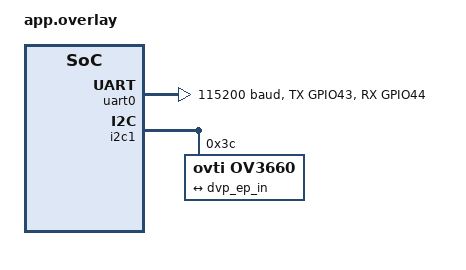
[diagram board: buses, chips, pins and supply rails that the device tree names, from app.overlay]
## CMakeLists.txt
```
cmake_minimum_required(VERSION 3.20.0)

find_package(Zephyr REQUIRED HINTS $ENV{ZEPHYR_BASE})
project(camera_snapshot)

target_sources(app PRIVATE src/main.c src/ov3660.c)
```

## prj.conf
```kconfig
CONFIG_VIDEO=y
CONFIG_I2C=y
CONFIG_PRINTK=y
CONFIG_LOG=y
CONFIG_LOG_MODE_DEFERRED=y
CONFIG_LOG_PRINTK=n

# PSRAM heap for the two JPEG buffers.
CONFIG_ESP_SPIRAM_HEAP_SIZE=4194304

CONFIG_VIDEO_BUFFER_USE_SHARED_MULTI_HEAP=y
CONFIG_VIDEO_BUFFER_SMH_ATTRIBUTE=2
CONFIG_VIDEO_BUFFER_POOL_ALIGN=64
CONFIG_VIDEO_BUFFER_POOL_NUM_MAX=2

CONFIG_DMA_ESP32_MAX_DESCRIPTOR_NUM=272

CONFIG_NETWORKING=y
CONFIG_WIFI=y
CONFIG_NET_IPV4=y
CONFIG_NET_DHCPV4=y
CONFIG_ESP32_WIFI_STA_AUTO_DHCPV4=y
CONFIG_NET_TCP=y
CONFIG_NET_SOCKETS=y
CONFIG_HTTP_CLIENT=y
CONFIG_CRC=y

CONFIG_SHELL=y
CONFIG_SHELL_BACKEND_SERIAL=y
CONFIG_NET_SHELL=y
CONFIG_NET_L2_WIFI_SHELL=y
```

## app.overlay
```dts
#include <zephyr/dt-bindings/pinctrl/esp32s3-pinctrl.h>

/ {
	chosen {
		zephyr,console = &uart0;
		zephyr,shell-uart = &uart0;
	};
};

&pinctrl {
	vision_uart0: vision_uart0 {
		group1 {
			pinmux = <UART0_TX_GPIO43>;
			output-high;
		};

		group2 {
			pinmux = <UART0_RX_GPIO44>;
			bias-pull-up;
		};
	};
};

&uart0 {
	status = "okay";
	current-speed = <115200>;
	pinctrl-0 = <&vision_uart0>;
	pinctrl-names = "default";
};

/delete-node/ &ov2640;

&i2c1 {
	ov3660: ov3660@3c {
		compatible = "ovti,ov3660";
		reg = <0x3c>;

		port {
			ov3660_ep_out: endpoint {
				remote-endpoint = <&dvp_ep_in>;
			};
		};
	};
};

&lcd_cam_dvp {
	cam-clk = <20000000>;
	source = <&ov3660>;
	invert-vsync;
};

&dvp_ep_in {
	remote-endpoint = <&ov3660_ep_out>;
};
```

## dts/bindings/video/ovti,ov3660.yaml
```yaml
description: OmniVision OV3660 DVP image sensor
compatible: "ovti,ov3660"
include: i2c-device.yaml
```

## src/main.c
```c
#include <errno.h>
#include <esp_cache.h>
#include <esp_memory_utils.h>
#include <esp_wifi.h>
#include <string.h>
#include <zephyr/device.h>
#include <zephyr/devicetree.h>
#include <zephyr/drivers/gpio.h>
#include <zephyr/drivers/video.h>
#include <zephyr/kernel.h>
#include <zephyr/net/http/client.h>
#include <zephyr/net/net_if.h>
#include <zephyr/net/dhcpv4.h>
#include <zephyr/net/socket.h>
#include <zephyr/sys/crc.h>
#include <zephyr/sys/printk.h>
#include <zephyr/sys/util.h>

#define QBOT_IP "192.168.0.121"
#define QBOT_PORT 8000
#define MAX_JPEG_BYTES (1024U * 1024U)
#define HTTP_TIMEOUT_MS 30000
#define CAPTURE_ATTEMPTS 3
#define WIFI_RECONNECT_TIMEOUT_MS 20000

static const struct gpio_dt_spec capture_button =
    GPIO_DT_SPEC_GET(DT_ALIAS(sw0), gpios);

static int wait_for_button_state(int state)
{
    for (;;) {
        int value = gpio_pin_get_dt(&capture_button);

        if (value < 0) {
            return value;
        }
        k_msleep(25);
        if (value == state) {
            value = gpio_pin_get_dt(&capture_button);
            if (value < 0 || value == state) {
                return value < 0 ? value : 0;
            }
        }
    }
}

static int reconnect_wifi(struct net_if *iface, wifi_config_t *config)
{
    esp_err_t ret = esp_wifi_start();

    if (ret == ESP_OK) {
        ret = esp_wifi_set_config(WIFI_IF_STA, config);
    }
    if (ret == ESP_OK) {
        ret = esp_wifi_connect();
    }
    if (ret != ESP_OK) {
        printk("ERROR: restarting Wi-Fi (%d)\n", (int)ret);
        return -EIO;
    }

    const int64_t deadline = k_uptime_get() + WIFI_RECONNECT_TIMEOUT_MS;
    wifi_ap_record_t ap;

    while (k_uptime_get() < deadline) {
        if (net_if_is_up(iface) && esp_wifi_sta_get_ap_info(&ap) == ESP_OK &&
            net_if_ipv4_get_global_addr(iface, NET_ADDR_PREFERRED) != NULL) {
            return 0;
        }
        k_msleep(100);
    }

    printk("ERROR: Wi-Fi did not reconnect and get an IPv4 address\n");
    return -ETIMEDOUT;
}

static int upload_response(struct http_response *response,
                           enum http_final_call final_data, void *user_data)
{
    if (final_data == HTTP_DATA_FINAL) {
        uint16_t *status = user_data;

        *status = response->http_status_code;
    }

    return 0;
}

static int post_jpeg(const uint8_t *jpeg, size_t length)
{
    struct sockaddr_in destination = {
        .sin_family = AF_INET,
        .sin_port = net_htons(QBOT_PORT),
    };
    static uint8_t response_buffer[512];
    char checksum_header[32];
    const char *const headers[] = {
        "X-Camera-Orientation: rotate-180\r\n",
        checksum_header,
        "Connection: close\r\n",
        NULL,
    };
    uint16_t status = 0;

    snprintk(checksum_header, sizeof(checksum_header), "X-JPEG-CRC32: %08x\r\n",
             (unsigned int)crc32_ieee(jpeg, length));

    if (zsock_inet_pton(AF_INET, QBOT_IP, &destination.sin_addr) != 1) {
        return -EINVAL;
    }

    int sock = zsock_socket(AF_INET, SOCK_STREAM, IPPROTO_TCP);
    if (sock < 0) {
        return -errno;
    }

    if (zsock_connect(sock, (const struct sockaddr *)&destination,
                      sizeof(destination)) < 0) {
        int error = -errno;

        zsock_close(sock);
        return error;
    }

    struct http_request request = {
        .method = HTTP_POST,
        .url = "/capture",
        .host = QBOT_IP,
        .port = STRINGIFY(QBOT_PORT),
        .protocol = "HTTP/1.1",
        .header_fields = headers,
        .content_type_value = "image/jpeg",
        .payload = (const char *)jpeg,
        .payload_len = length,
        .response = upload_response,
        .recv_buf = response_buffer,
        .recv_buf_len = sizeof(response_buffer),
    };

    int ret = http_client_req(sock, &request, HTTP_TIMEOUT_MS, &status);
    zsock_close(sock);

    if (ret < 0) {
        return ret;
    }

    printk("Qbot returned HTTP %u\n", (unsigned int)status);
    if (status == 422) {
        return -EBADMSG;
    }

    return status == 200 ? 0 : -EIO;
}

static int send_frame(const struct video_format *fmt, const struct video_buffer *frame)
{
    if (frame->bytesused == 0 || frame->bytesused > fmt->size ||
        frame->bytesused > frame->size) {
        return -EBADMSG;
    }

    if (esp_ptr_external_ram(frame->buffer)) {
        int ret = esp_cache_msync(frame->buffer, fmt->size,
                                  ESP_CACHE_MSYNC_FLAG_DIR_M2C);
        if (ret != 0) {
            printk("ERROR: synchronizing image memory (%d)\n", ret);
            return -EIO;
        }
    }

    const uint8_t *jpeg = frame->buffer;
    size_t length = frame->bytesused;

    while (length > 0 && jpeg[length - 1] == 0) {
        length--;
    }

    if (length < 4 || jpeg[0] != 0xff || jpeg[1] != 0xd8 ||
        jpeg[length - 2] != 0xff || jpeg[length - 1] != 0xd9) {
        printk("ERROR: invalid JPEG markers\n");
        return -EBADMSG;
    }

    if (length > MAX_JPEG_BYTES) {
        printk("ERROR: JPEG exceeds Qbot's 1 MiB upload limit\n");
        return -EMSGSIZE;
    }

    printk("Uploading %u JPEG bytes to Qbot\n", (unsigned int)length);
    return post_jpeg(jpeg, length);
}

static int capture_frames(const struct device *camera, size_t size,
                          struct video_buffer *buffers[2],
                          struct video_buffer **first, struct video_buffer **second)
{
    struct video_buffer *pending;
    int ret;

    for (size_t i = 0; i < 2; i++) {
        memset(buffers[i]->buffer, 0, size);
        ret = esp_cache_msync(buffers[i]->buffer, size,
                              ESP_CACHE_MSYNC_FLAG_DIR_C2M);
        if (ret != 0) {
            printk("ERROR: preparing capture memory (%d)\n", ret);
            return -EIO;
        }
        ret = video_enqueue(camera, buffers[i]);
        if (ret < 0) {
            printk("ERROR: queueing video buffer (%d)\n", ret);
            return ret;
        }
    }

    ret = video_stream_start(camera, VIDEO_BUF_TYPE_OUTPUT);
    if (ret < 0) {
        printk("ERROR: starting capture (%d)\n", ret);
        return ret;
    }

    ret = video_dequeue(camera, first, K_SECONDS(10));
    if (ret == 0) {
        ret = video_dequeue(camera, second, K_SECONDS(10));
    }

    int stop_ret = video_stream_stop(camera, VIDEO_BUF_TYPE_OUTPUT);
    if (stop_ret < 0) {
        printk("ERROR: stopping capture (%d)\n", stop_ret);
        return stop_ret;
    }

    while (video_dequeue(camera, &pending, K_NO_WAIT) == 0) {
    }

    if (ret < 0) {
        printk("ERROR: waiting for frame (%d)\n", ret);
    }

    return 0;
}

int main(void)
{
    const struct device *camera = DEVICE_DT_GET(DT_CHOSEN(zephyr_camera));
    const struct device *sensor = DEVICE_DT_GET(DT_PHANDLE(DT_CHOSEN(zephyr_camera), source));
    struct video_format fmt = {
        .type = VIDEO_BUF_TYPE_OUTPUT,
        .pixelformat = VIDEO_PIX_FMT_JPEG,
        .width = 2048,
        .height = 1536,
    };
    struct video_buffer *buffers[2];

    if (!device_is_ready(camera) || !device_is_ready(sensor) ||
        !gpio_is_ready_dt(&capture_button)) {
        printk("ERROR: camera, sensor, or BOOT button is not ready\n");
        return 0;
    }

    int ret = gpio_pin_configure_dt(&capture_button, GPIO_INPUT);
    if (ret < 0) {
        printk("ERROR: configuring BOOT button (%d)\n", ret);
        return 0;
    }

    ret = video_set_format(camera, &fmt);
    if (ret < 0) {
        printk("ERROR: setting JPEG format (%d)\n", ret);
        return 0;
    }

    for (size_t i = 0; i < ARRAY_SIZE(buffers); i++) {
        buffers[i] = video_buffer_aligned_alloc(fmt.size, CONFIG_VIDEO_BUFFER_POOL_ALIGN,
                                                K_NO_WAIT);
        if (buffers[i] == NULL) {
            printk("ERROR: allocating video buffer\n");
            return 0;
        }
        buffers[i]->type = VIDEO_BUF_TYPE_OUTPUT;
        if (!esp_ptr_external_ram(buffers[i]->buffer)) {
            printk("ERROR: image buffer is not in PSRAM\n");
            return 0;
        }
    }

    printk("JPEG mode %u x %u, buffer capacity %u bytes in PSRAM\n",
           fmt.width, fmt.height, fmt.size);

    for (;;) {
        printk("Ready. Press BOOT to take a picture.\n");
        ret = wait_for_button_state(0);
        if (ret == 0) {
            ret = wait_for_button_state(1);
        }
        if (ret < 0) {
            printk("ERROR: reading BOOT button (%d)\n", ret);
            return 0;
        }

        struct net_if *iface = net_if_get_default();
        wifi_config_t wifi_config;
        wifi_ap_record_t ap;

        if (iface == NULL || esp_wifi_sta_get_ap_info(&ap) != ESP_OK ||
            esp_wifi_get_config(WIFI_IF_STA, &wifi_config) != ESP_OK) {
            printk("Connect to Wi-Fi in the shell, then press BOOT again.\n");
            continue;
        }

        for (int attempt = 1; attempt <= CAPTURE_ATTEMPTS; attempt++) {
            struct video_buffer *first = NULL;
            struct video_buffer *second = NULL;

            /* Wi-Fi activity during capture corrupted some JPEGs. */
            esp_err_t wifi_ret = esp_wifi_stop();
            if (wifi_ret != ESP_OK) {
                printk("ERROR: stopping Wi-Fi for capture (%d)\n", (int)wifi_ret);
                break;
            }
            net_dhcpv4_stop(iface);
            k_msleep(100);

            printk("Capturing image with Wi-Fi off (attempt %d/%d).\n",
                   attempt, CAPTURE_ATTEMPTS);
            ret = capture_frames(camera, fmt.size, buffers, &first, &second);
            if (ret < 0) {
                return 0;
            }

            printk("Reconnecting Wi-Fi for upload.\n");
            if (reconnect_wifi(iface, &wifi_config) < 0) {
                break;
            }

            /* Try the newer frame first and keep the first as a backup. */
            ret = second ? send_frame(&fmt, second) : -EBADMSG;
            if (ret == -EBADMSG && first) {
                printk("Trying the other captured frame.\n");
                ret = send_frame(&fmt, first);
            }

            if (ret == 0) {
                printk("Image uploaded successfully.\n");
                break;
            }
            if (ret != -EBADMSG) {
                printk("ERROR: uploading image to Qbot (%d)\n", ret);
                break;
            }
            if (attempt == CAPTURE_ATTEMPTS) {
                printk("ERROR: no valid JPEG after %d attempts.\n", CAPTURE_ATTEMPTS);
            }
        }
    }
}
```

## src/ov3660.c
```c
/* SPDX-License-Identifier: Apache-2.0 */

#define DT_DRV_COMPAT ovti_ov3660

#include <errno.h>
#include <zephyr/device.h>
#include <zephyr/drivers/i2c.h>
#include <zephyr/drivers/video.h>
#include <zephyr/kernel.h>
#include <zephyr/logging/log.h>
#include <zephyr/sys/byteorder.h>
#include <zephyr/sys/util.h>

#include "ov3660_regs.h"

LOG_MODULE_REGISTER(vision_ov3660, CONFIG_VIDEO_LOG_LEVEL);

#define OV3660_PID_HIGH_REG 0x300a
#define OV3660_PID_LOW_REG  0x300b
#define OV3660_SYSTEM_CTRL  0x3008
#define OV3660_STREAMING    0x02
#define OV3660_STANDBY      0x42
#define OV3660_PID          0x3660
#define OV3660_FRAME_SIZE   240
#define OV3660_STARTUP_MS   100
#define OV3660_PID_ATTEMPTS 3
#define OV3660_PID_RETRY_MS 20

static const struct video_format_cap ov3660_formats[] = {
	{
		.pixelformat = VIDEO_PIX_FMT_RGB565,
		.width_min = OV3660_FRAME_SIZE,
		.width_max = OV3660_FRAME_SIZE,
		.height_min = OV3660_FRAME_SIZE,
		.height_max = OV3660_FRAME_SIZE,
	},
	 {
        .pixelformat = VIDEO_PIX_FMT_JPEG,
        .width_min = 320,
        .width_max = 320,
        .height_min = 240,
        .height_max = 240,
    },
	  {
        .pixelformat = VIDEO_PIX_FMT_JPEG,
        .width_min = 2048,
        .width_max = 2048,
        .height_min = 1536,
        .height_max = 1536,
    },
	{},
};

struct ov3660_data {
    struct video_format format;
    bool format_valid;
};

static int ov3660_read(const struct i2c_dt_spec *bus, uint16_t reg, uint8_t *value)
{
	uint8_t address[2];

	sys_put_be16(reg, address);
	return i2c_write_read_dt(bus, address, sizeof(address), value, 1);
}

static int ov3660_write(const struct i2c_dt_spec *bus, uint16_t reg, uint8_t value)
{
	uint8_t data[3];

	sys_put_be16(reg, data);
	data[2] = value;
	return i2c_write_dt(bus, data, sizeof(data));
}

static int ov3660_write_table(const struct i2c_dt_spec *bus, const struct ov3660_reg *table,
			     size_t length)
{
	for (size_t i = 0; i < length; i++) {
		int ret;

		if (table[i].address == OV3660_DELAY_REG) {
			k_msleep(table[i].value);
			continue;
		}

		ret = ov3660_write(bus, table[i].address, table[i].value);
		if (ret < 0) {
			LOG_ERR("Register 0x%04x write failed (%d)", table[i].address, ret);
			return ret;
		}
	}

	return 0;
}

static int ov3660_init(const struct device *dev)
{
	const struct i2c_dt_spec *bus = dev->config;
	uint8_t high, low;
	uint16_t pid = 0;
	int ret = 0;

	if (!i2c_is_ready_dt(bus)) {
		LOG_ERR("Camera I2C bus is not ready");
		return -ENODEV;
	}

	/* XCLK is enabled during early boot. Wait for the sensor before probing it. */
	k_msleep(OV3660_STARTUP_MS);
	for (int attempt = 0; attempt < OV3660_PID_ATTEMPTS; attempt++) {
		ret = ov3660_read(bus, OV3660_PID_HIGH_REG, &high);
		if (ret == 0) {
			ret = ov3660_read(bus, OV3660_PID_LOW_REG, &low);
		}
		if (ret == 0) {
			pid = ((uint16_t)high << 8) | low;
			if (pid == OV3660_PID) {
				break;
			}
		}
		if (attempt + 1 < OV3660_PID_ATTEMPTS) {
			k_msleep(OV3660_PID_RETRY_MS);
		}
	}
	if (ret < 0) {
		LOG_ERR("Camera PID read failed (%d)", ret);
		return ret;
	}

	if (pid != OV3660_PID) {
		LOG_ERR("Unexpected camera PID 0x%04x", pid);
		return -ENODEV;
	}

	ret = ov3660_write_table(bus, ov3660_defaults, ARRAY_SIZE(ov3660_defaults));
	if (ret < 0) {
		return ret;
	}

	ret = ov3660_write_table(bus, ov3660_snapshot_mode, ARRAY_SIZE(ov3660_snapshot_mode));
	if (ret < 0) {
		return ret;
	}

	struct ov3660_data *data = dev->data;

    data->format = (struct video_format) {
        .type = VIDEO_BUF_TYPE_OUTPUT,
        .pixelformat = VIDEO_PIX_FMT_RGB565,
        .width = OV3660_FRAME_SIZE,
        .height = OV3660_FRAME_SIZE,
    };

    ret = video_estimate_fmt_size(&data->format);
    if (ret < 0) {
        return ret;
    }

    data->format_valid = true;

    k_msleep(10);
    LOG_INF("OV3660 initialized (PID 0x%04x)", pid);
    return 0;
}

static int ov3660_get_format(const struct device *dev,
                            struct video_format *fmt)
{
    struct ov3660_data *data = dev->data;

    if (fmt->type != VIDEO_BUF_TYPE_OUTPUT) {
        return -EINVAL;
    }

    if (!data->format_valid) {
        return -EIO;
    }

    *fmt = data->format;
    return 0;
}

static int ov3660_set_format(const struct device *dev,
                            struct video_format *fmt)
{
    const struct i2c_dt_spec *bus = dev->config;
    struct ov3660_data *data = dev->data;
    struct video_format requested = *fmt;

    if (requested.type != VIDEO_BUF_TYPE_OUTPUT) {
        return -EINVAL;
    }

    bool rgb565 = requested.pixelformat == VIDEO_PIX_FMT_RGB565 &&
                  requested.width == OV3660_FRAME_SIZE &&
                  requested.height == OV3660_FRAME_SIZE;

    bool qvga = requested.width == 320 && requested.height == 240;
    bool qxga = requested.width == 2048 && requested.height == 1536;

    bool jpeg = requested.pixelformat == VIDEO_PIX_FMT_JPEG &&
                (qvga || qxga);
    if (!rgb565 && !jpeg) {
        return -ENOTSUP;
    }

    int ret = video_estimate_fmt_size(&requested);
    if (ret < 0) {
        return ret;
    }
    if (jpeg && qxga) {
        requested.pitch = 0;
        requested.size = 1024U * 1024U;
    }

    if (data->format_valid &&
        requested.pixelformat == data->format.pixelformat &&
        requested.width == data->format.width &&
        requested.height == data->format.height) {
        *fmt = data->format;
        return 0;
    }

    /* A failed register write can leave the sensor partly configured. */
    data->format_valid = false;

    ret = ov3660_write_table(bus, ov3660_defaults,
                            ARRAY_SIZE(ov3660_defaults));
    if (ret < 0) {
        return ret;
    }

    ret = ov3660_write_table(bus, ov3660_snapshot_mode,
                            ARRAY_SIZE(ov3660_snapshot_mode));
    if (ret < 0) {
        return ret;
    }

    if (jpeg) {
        ret = ov3660_write_table(bus, ov3660_jpeg_qvga_mode,
                                ARRAY_SIZE(ov3660_jpeg_qvga_mode));
        if (ret < 0) {
            return ret;
        }

        if (qxga) {
            ret = ov3660_write_table(bus, ov3660_jpeg_qxga_mode,
                                    ARRAY_SIZE(ov3660_jpeg_qxga_mode));
            if (ret < 0) {
                return ret;
            }
        }
    }

    k_msleep(10);

    ret = ov3660_write(bus, OV3660_SYSTEM_CTRL, OV3660_STANDBY);
    if (ret < 0) {
        return ret;
    }

    data->format = requested;
    data->format_valid = true;
    *fmt = requested;

    return 0;
}

static int ov3660_get_caps(const struct device *dev, struct video_caps *caps)
{
	ARG_UNUSED(dev);

	if (caps->type != VIDEO_BUF_TYPE_OUTPUT) {
		return -EINVAL;
	}

	caps->format_caps = ov3660_formats;
	return 0;
}

static int ov3660_set_stream(const struct device *dev, bool enable, enum video_buf_type type)
{
    const struct i2c_dt_spec *bus = dev->config;

    if (type != VIDEO_BUF_TYPE_OUTPUT) {
        return -EINVAL;
    }

    return ov3660_write(bus, OV3660_SYSTEM_CTRL, enable ? OV3660_STREAMING : OV3660_STANDBY);
}

static DEVICE_API(video, ov3660_api) = {
	.set_format = ov3660_set_format,
	.get_format = ov3660_get_format,
	.get_caps = ov3660_get_caps,
	.set_stream = ov3660_set_stream,
};

static const struct i2c_dt_spec ov3660_bus = I2C_DT_SPEC_INST_GET(0);
static struct ov3660_data ov3660_runtime;

DEVICE_DT_INST_DEFINE(0, ov3660_init, NULL,
                      &ov3660_runtime, &ov3660_bus,
                      POST_KERNEL, CONFIG_VIDEO_INIT_PRIORITY,
                      &ov3660_api);
```

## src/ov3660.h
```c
/* SPDX-License-Identifier: Apache-2.0 */

#ifndef VISION_OV3660_H_
#define VISION_OV3660_H_

#include <zephyr/drivers/gpio.h>

int ov3660_test_vsync_pin(const struct device *sensor, const struct device *gpio,
			 gpio_pin_t pin, int *low, int *high);

#endif /* VISION_OV3660_H_ */
```

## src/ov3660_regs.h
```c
/*
 * OV3660 register settings adapted from Espressif esp-video-components.
 * SPDX-FileCopyrightText: 2025 Espressif Systems (Shanghai) CO LTD
 * SPDX-License-Identifier: Apache-2.0
 *
 * Source: https://github.com/espressif/esp-video-components/tree/master/esp_cam_sensor/sensors/ov3660
 */

#ifndef VISION_OV3660_REGS_H_
#define VISION_OV3660_REGS_H_

#include <stdint.h>

#define OV3660_DELAY_REG 0xffff

struct ov3660_reg {
	uint16_t address;
	uint8_t value;
};

static const struct ov3660_reg ov3660_defaults[] = {
	{ 0x3008, 0x82 },
	{ 0x3008, 0x82 },
	{ 0xffff, 0x14 },
	{ 0x3103, 0x13 },
	{ 0x3008, 0x42 },
	{ 0x3017, 0xff },
	{ 0x3018, 0xff },
	{ 0x302c, 0xc3 },
	{ 0x4740, 0x23 }, /* Match the ESP32-S3's active-high HREF input. */
	{ 0x3611, 0x01 },
	{ 0x3612, 0x2d },
	{ 0x3032, 0x00 },
	{ 0x3614, 0x80 },
	{ 0x3618, 0x00 },
	{ 0x3619, 0x75 },
	{ 0x3622, 0x80 },
	{ 0x3623, 0x00 },
	{ 0x3624, 0x03 },
	{ 0x3630, 0x52 },
	{ 0x3632, 0x07 },
	{ 0x3633, 0xd2 },
	{ 0x3704, 0x80 },
	{ 0x3708, 0x66 },
	{ 0x3709, 0x12 },
	{ 0x370b, 0x12 },
	{ 0x3717, 0x00 },
	{ 0x371b, 0x60 },
	{ 0x371c, 0x00 },
	{ 0x3901, 0x13 },
	{ 0x3600, 0x08 },
	{ 0x3620, 0x43 },
	{ 0x3702, 0x20 },
	{ 0x3739, 0x48 },
	{ 0x3730, 0x20 },
	{ 0x370c, 0x0c },
	{ 0x3a18, 0x00 },
	{ 0x3a19, 0xf8 },
	{ 0x3000, 0x10 },
	{ 0x3004, 0xef },
	{ 0x6700, 0x05 },
	{ 0x6701, 0x19 },
	{ 0x6702, 0xfd },
	{ 0x6703, 0xd1 },
	{ 0x6704, 0xff },
	{ 0x6705, 0xff },
	{ 0x3c01, 0x80 },
	{ 0x3c00, 0x04 },
	{ 0x3a08, 0x00 },
	{ 0x3a09, 0x62 },
	{ 0x3a0e, 0x08 },
	{ 0x3a0a, 0x00 },
	{ 0x3a0b, 0x52 },
	{ 0x3a0d, 0x09 },
	{ 0x3a00, 0x3a },
	{ 0x3a14, 0x09 },
	{ 0x3a15, 0x30 },
	{ 0x3a02, 0x09 },
	{ 0x3a03, 0x30 },
	{ 0x440e, 0x08 },
	{ 0x4520, 0x0b },
	{ 0x460b, 0x37 },
	{ 0x4713, 0x02 },
	{ 0x471c, 0xd0 },
	{ 0x5086, 0x00 },
	{ 0x5002, 0x00 },
	{ 0x501f, 0x00 },
	{ 0x3008, 0x02 },
	{ 0x5180, 0xff },
	{ 0x5181, 0xf2 },
	{ 0x5182, 0x00 },
	{ 0x5183, 0x14 },
	{ 0x5184, 0x25 },
	{ 0x5185, 0x24 },
	{ 0x5186, 0x16 },
	{ 0x5187, 0x16 },
	{ 0x5188, 0x16 },
	{ 0x5189, 0x68 },
	{ 0x518a, 0x60 },
	{ 0x518b, 0xe0 },
	{ 0x518c, 0xb2 },
	{ 0x518d, 0x42 },
	{ 0x518e, 0x35 },
	{ 0x518f, 0x56 },
	{ 0x5190, 0x56 },
	{ 0x5191, 0xf8 },
	{ 0x5192, 0x04 },
	{ 0x5193, 0x70 },
	{ 0x5194, 0xf0 },
	{ 0x5195, 0xf0 },
	{ 0x5196, 0x03 },
	{ 0x5197, 0x01 },
	{ 0x5198, 0x04 },
	{ 0x5199, 0x12 },
	{ 0x519a, 0x04 },
	{ 0x519b, 0x00 },
	{ 0x519c, 0x06 },
	{ 0x519d, 0x82 },
	{ 0x519e, 0x38 },
	{ 0x5381, 0x1d },
	{ 0x5382, 0x60 },
	{ 0x5383, 0x03 },
	{ 0x5384, 0x0c },
	{ 0x5385, 0x78 },
	{ 0x5386, 0x84 },
	{ 0x5387, 0x7d },
	{ 0x5388, 0x6b },
	{ 0x5389, 0x12 },
	{ 0x538a, 0x01 },
	{ 0x538b, 0x98 },
	{ 0x5480, 0x01 },
	{ 0x5000, 0xa7 },
	{ 0x5800, 0x0c },
	{ 0x5801, 0x09 },
	{ 0x5802, 0x0c },
	{ 0x5803, 0x0c },
	{ 0x5804, 0x0d },
	{ 0x5805, 0x17 },
	{ 0x5806, 0x06 },
	{ 0x5807, 0x05 },
	{ 0x5808, 0x04 },
	{ 0x5809, 0x06 },
	{ 0x580a, 0x09 },
	{ 0x580b, 0x0e },
	{ 0x580c, 0x05 },
	{ 0x580d, 0x01 },
	{ 0x580e, 0x01 },
	{ 0x580f, 0x01 },
	{ 0x5810, 0x05 },
	{ 0x5811, 0x0d },
	{ 0x5812, 0x05 },
	{ 0x5813, 0x01 },
	{ 0x5814, 0x01 },
	{ 0x5815, 0x01 },
	{ 0x5816, 0x05 },
	{ 0x5817, 0x0d },
	{ 0x5818, 0x08 },
	{ 0x5819, 0x06 },
	{ 0x581a, 0x05 },
	{ 0x581b, 0x07 },
	{ 0x581c, 0x0b },
	{ 0x581d, 0x0d },
	{ 0x581e, 0x12 },
	{ 0x581f, 0x0d },
	{ 0x5820, 0x0e },
	{ 0x5821, 0x10 },
	{ 0x5822, 0x10 },
	{ 0x5823, 0x1e },
	{ 0x5824, 0x53 },
	{ 0x5825, 0x15 },
	{ 0x5826, 0x05 },
	{ 0x5827, 0x14 },
	{ 0x5828, 0x54 },
	{ 0x5829, 0x25 },
	{ 0x582a, 0x33 },
	{ 0x582b, 0x33 },
	{ 0x582c, 0x34 },
	{ 0x582d, 0x16 },
	{ 0x582e, 0x24 },
	{ 0x582f, 0x41 },
	{ 0x5830, 0x50 },
	{ 0x5831, 0x42 },
	{ 0x5832, 0x15 },
	{ 0x5833, 0x25 },
	{ 0x5834, 0x34 },
	{ 0x5835, 0x33 },
	{ 0x5836, 0x24 },
	{ 0x5837, 0x26 },
	{ 0x5838, 0x54 },
	{ 0x5839, 0x25 },
	{ 0x583a, 0x15 },
	{ 0x583b, 0x25 },
	{ 0x583c, 0x53 },
	{ 0x583d, 0xcf },
	{ 0x3a0f, 0x30 },
	{ 0x3a10, 0x28 },
	{ 0x3a1b, 0x30 },
	{ 0x3a1e, 0x28 },
	{ 0x3a11, 0x60 },
	{ 0x3a1f, 0x14 },
	{ 0x5302, 0x28 },
	{ 0x5303, 0x20 },
	{ 0x5306, 0x1c },
	{ 0x5307, 0x28 },
	{ 0x4002, 0xc5 },
	{ 0x4003, 0x81 },
	{ 0x4005, 0x12 },
	{ 0x5688, 0x11 },
	{ 0x5689, 0x11 },
	{ 0x568a, 0x11 },
	{ 0x568b, 0x11 },
	{ 0x568c, 0x11 },
	{ 0x568d, 0x11 },
	{ 0x568e, 0x11 },
	{ 0x568f, 0x11 },
	{ 0x5580, 0x06 },
	{ 0x5588, 0x00 },
	{ 0x5583, 0x40 },
	{ 0x5584, 0x2c },
	{ 0x5001, 0x83 },
};

/* 20 MHz XCLK, 8-bit DVP, 240 x 240 RGB565. */
static const struct ov3660_reg ov3660_snapshot_mode[] = {
	{ 0x3800, 0x01 },
	{ 0x3801, 0x00 },
	{ 0x3802, 0x00 },
	{ 0x3803, 0x00 },
	{ 0x3804, 0x07 },
	{ 0x3805, 0x1f },
	{ 0x3806, 0x06 },
	{ 0x3807, 0x0b },
	{ 0x3808, 0x00 },
	{ 0x3809, 0xf0 },
	{ 0x380a, 0x00 },
	{ 0x380b, 0xf0 },
	{ 0x380c, 0x07 },
	{ 0x380d, 0xfc },
	{ 0x380e, 0x03 },
	{ 0x380f, 0x0f },
	{ 0x3810, 0x00 },
	{ 0x3811, 0x08 },
	{ 0x3812, 0x00 },
	{ 0x3813, 0x02 },
	{ 0x5001, 0xa3 },
	{ 0x3820, 0x01 },
	{ 0x3821, 0x01 },
	{ 0x4514, 0xaa },
	{ 0x4520, 0x0b },
	{ 0x3814, 0x31 },
	{ 0x3815, 0x31 },
	{ 0x303a, 0x00 },
	{ 0x303b, 0x08 },
	{ 0x303c, 0x11 },
	{ 0x303d, 0x00 },
	{ 0x3824, 0x08 },
	{ 0x460c, 0x22 },
	{ 0x501f, 0x01 },
	{ 0x4300, 0x6f }, /* RGB565, low byte first (OV3660 datasheet, table 2-4). */
	/* Generate VSYNC from field end to frame start (datasheet table 7-18). */
	{ 0x471d, 0x00 },
};

/* Experimental 320 x 240 JPEG mode with 20 MHz XCLK. */
static const struct ov3660_reg ov3660_jpeg_qvga_mode[] = {
    { 0x501f, 0x00 },
    { 0x4300, 0x30 },
    { 0x3002, 0x00 },
    { 0x3006, 0xff },
    { 0x471c, 0x50 },

    { 0x3800, 0x00 },
    { 0x3801, 0x00 },
    { 0x3802, 0x00 },
    { 0x3803, 0x00 },
    { 0x3804, 0x08 },
    { 0x3805, 0x1f },
    { 0x3806, 0x06 },
    { 0x3807, 0x0b },

    { 0x3808, 0x01 },
    { 0x3809, 0x40 },
    { 0x380a, 0x00 },
    { 0x380b, 0xf0 },

    { 0x380c, 0x08 },
    { 0x380d, 0xfc },
    { 0x380e, 0x03 },
    { 0x380f, 0x0f },

    { 0x3810, 0x00 },
    { 0x3811, 0x08 },
    { 0x3812, 0x00 },
    { 0x3813, 0x02 },

    { 0x5001, 0xa3 },
    { 0x3820, 0x01 },
    { 0x3821, 0x21 },
    { 0x4514, 0xaa },
    { 0x4520, 0x0b },
    { 0x3814, 0x31 },
    { 0x3815, 0x31 },

    { 0x303a, 0x00 },
    { 0x303b, 0x1e },
    { 0x303c, 0x11 },
    { 0x303d, 0x30 },
    { 0x3824, 0x0a },
    { 0x460c, 0x22 },

    { 0x4407, 0x0c },
};

/* Apply after ov3660_jpeg_qvga_mode. */
static const struct ov3660_reg ov3660_jpeg_qxga_mode[] = {
    { 0x3808, 0x08 },
    { 0x3809, 0x00 },
    { 0x380a, 0x06 },
    { 0x380b, 0x00 },

    { 0x380c, 0x08 },
    { 0x380d, 0xfc },
    { 0x380e, 0x06 },
    { 0x380f, 0x1c },

    { 0x3810, 0x00 },
    { 0x3811, 0x10 },
    { 0x3812, 0x00 },
    { 0x3813, 0x06 },

    { 0x5001, 0x83 },
    { 0x3820, 0x40 },
    { 0x3821, 0x20 },
    { 0x4514, 0x88 },
    { 0x4520, 0xb0 },
    { 0x3814, 0x11 },
    { 0x3815, 0x11 },

    { 0x303b, 0x18 },
    { 0x3824, 0x0c },
};

#endif /* VISION_OV3660_REGS_H_ */
```
